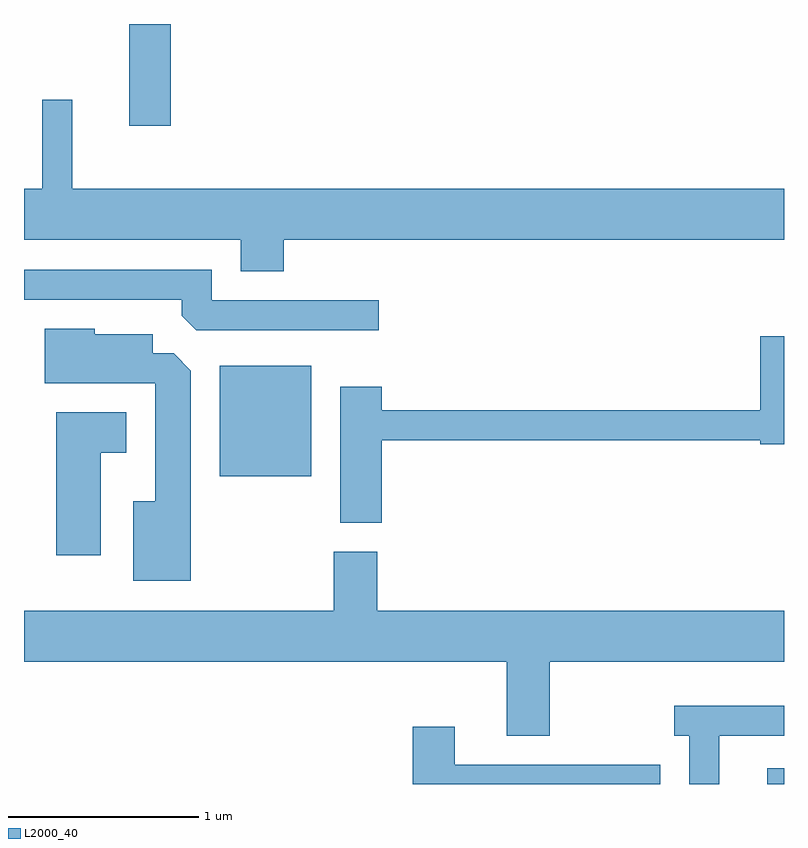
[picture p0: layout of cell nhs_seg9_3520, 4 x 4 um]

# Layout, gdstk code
import gdstk
lib = gdstk.Library(unit=1e-6, precision=1e-09)
def R(c, l, rs):  # rectangles x0, y0, x1, y1
    for r in rs: c.add(gdstk.rectangle(r[:2], r[2:], *l))
def P(c, l, *ps):  # polygons
    for p in ps: c.add(gdstk.Polygon(p, *l))
L2000_40 = (2000, 40)

nhs_seg9_3520 = lib.new_cell('nhs_seg9_3520')
R(nhs_seg9_3520, L2000_40, [(291.523,2064.432,291.611,2064.514), (288.641,2066.051,289.124,2066.634), (288.166,2067.896,288.384,2068.432)])
P(nhs_seg9_3520, L2000_40, [(288.979,2067.296),(291.611,2067.296),(291.611,2067.564),(287.864,2067.564),(287.864,2068.033),(287.706,2068.033),(287.706,2067.564),(287.611,2067.564),(287.611,2067.296),(288.751,2067.296),(288.751,2067.131),(288.979,2067.131)],
  [(289.478,2066.979),(288.599,2066.979),(288.599,2067.139),(287.611,2067.139),(287.611,2066.981),(288.441,2066.981),(288.441,2066.896),(288.517,2066.821),(289.478,2066.821)],
  [(288.489,2066.608),(288.399,2066.699),(288.289,2066.699),(288.289,2066.799),(287.984,2066.799),(287.984,2066.829),(287.721,2066.829),(287.721,2066.541),(288.301,2066.541),(288.301,2065.919),(288.186,2065.919),(288.186,2065.501),(288.489,2065.501)],
  [(289.494,2066.241),(291.486,2066.241),(291.486,2066.221),(291.611,2066.221),(291.611,2066.789),(291.486,2066.789),(291.486,2066.399),(289.494,2066.399),(289.494,2066.524),(289.276,2066.524),(289.276,2065.806),(289.494,2065.806)],
  [(288.014,2066.176),(288.149,2066.176),(288.149,2066.389),(287.781,2066.389),(287.781,2065.636),(288.014,2065.636)],
  [(290.379,2065.076),(291.611,2065.076),(291.611,2065.344),(289.469,2065.344),(289.469,2065.654),(289.241,2065.654),(289.241,2065.344),(287.611,2065.344),(287.611,2065.076),(290.151,2065.076),(290.151,2064.686),(290.379,2064.686)],
  [(291.269,2064.686),(291.611,2064.686),(291.611,2064.844),(291.033,2064.844),(291.033,2064.686),(291.111,2064.686),(291.111,2064.432),(291.269,2064.432)],
  [(290.959,2064.534),(289.879,2064.534),(289.879,2064.734),(289.656,2064.734),(289.656,2064.432),(290.959,2064.432)])

lib.write_gds('nhs_seg9_3520.gds')
